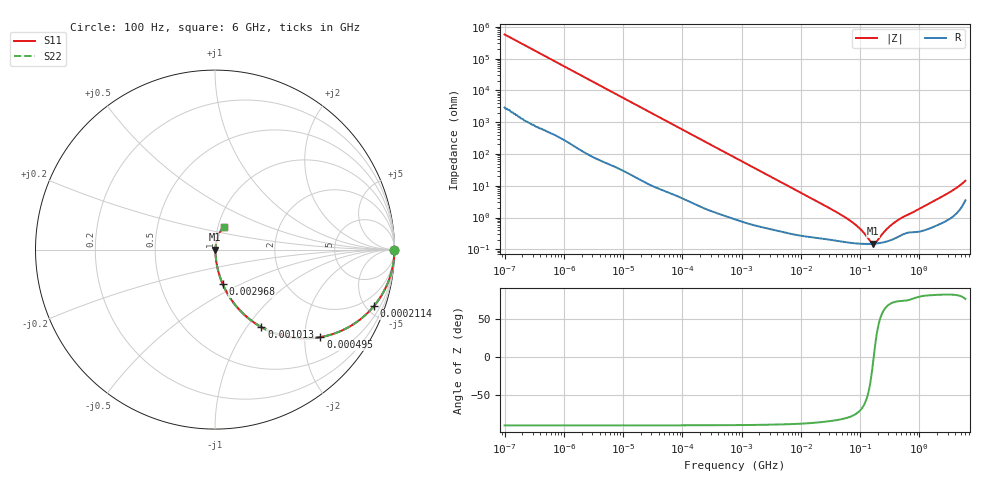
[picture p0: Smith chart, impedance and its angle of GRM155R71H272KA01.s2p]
!Murata Part Number: GRM155R71H272KA01
!These Parameters are Measured in Series Mode Connection
!Data Generated on Mar 30, 2021
!  o--ll--o
!Port1  Port2
!  o------o
!Operation Temp=25[degC], DC Bias Voltage=0[V]
!Freq. Start=100[Hz] Stop=6[GHz] 401[Steps]
# Hz S RI R 50
!Freq.(Hz) S11(Real) S11(Imag) S21(Real) S21(Imag) S12(Real) S12(Imag) S22(Real) S22(Imag)
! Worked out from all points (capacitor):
!   401 points, 100 Hz to 6 GHz, reference 50 ohm
!   read as one part in series: C = 2.76 nF near 109 Hz
!   lowest |Z| = 151 mohm at 166.9 MHz (marker M1)
!   series resonance near 170.1 MHz, so ESL is about 320 pH
!   S11 on the Smith chart (normalised r, x): 100 Hz: open; 211.4 kHz: 1.04, -5.58; 495 kHz: 1.02, -2.39; 1.013 MHz: 1.01, -1.17; 2.968 MHz: 1.01, -0.40; 6 GHz: 1.07, +0.28
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100  1 -0.000174  9e-07 0.000174  9e-07 0.000174  1 -0.000174
2008  1 -0.00346  2.69e-05 0.00346  2.69e-05 0.00346  1 -0.00346
40335  0.9949 -0.0685  0.0051 0.0685  0.0051 0.0685  0.9949 -0.0685
94437  0.9738 -0.1563  0.0262 0.1563  0.0262 0.1563  0.9738 -0.1563
211427  0.8842 -0.3162  0.1158 0.3162  0.1158 0.3162  0.8842 -0.3162
316350  0.775 -0.4134  0.225 0.4134  0.225 0.4134  0.775 -0.4134
495019  0.5874 -0.4874  0.4126 0.4874  0.4126 0.4874  0.5874 -0.4874
774597  0.371 -0.4774  0.629 0.4774  0.629 0.4774  0.371 -0.4774
1013323  0.2584 -0.4315  0.7416 0.4315  0.7416 0.4315  0.2584 -0.4315
1658239  0.1181 -0.315  0.8819 0.315  0.8819 0.315  0.1181 -0.315
2967816  0.0429 -0.192  0.9571 0.192  0.9571 0.192  0.0429 -0.192
6353432  0.012 -0.0933  0.988 0.0933  0.988 0.0933  0.012 -0.0933
1.555665e7  0.00388 -0.0386  0.9961 0.0386  0.9961 0.0386  0.00388 -0.0386
7.129496e7  0.00164 -0.00732  0.9984 0.00732  0.9984 0.00732  0.00164 -0.00732
1.020051e8  0.00151 -0.004  0.9985 0.004  0.9985 0.004  0.00151 -0.004
1.459435e8  0.00149 -0.00116  0.9985 0.00116  0.9985 0.00116  0.00149 -0.00116
1.669249e8  0.0015 -0.000141  0.9985 0.000141  0.9985 0.000141  0.0015 -0.000141
1.909225e8  0.00154 0.000872  0.9985 -0.000872  0.9985 -0.000872  0.00154 0.000872
3.124326e8  0.00189 0.00483  0.9981 -0.00483  0.9981 -0.00483  0.00189 0.00483
4.888888e8  0.00282 0.00904  0.9972 -0.00904  0.9972 -0.00904  0.00282 0.00904
2.802721e9  0.0104 0.0519  0.9896 -0.0519  0.9896 -0.0519  0.0104 0.0519
6e9  0.051 0.1278  0.949 -0.1278  0.949 -0.1278  0.051 0.1278
